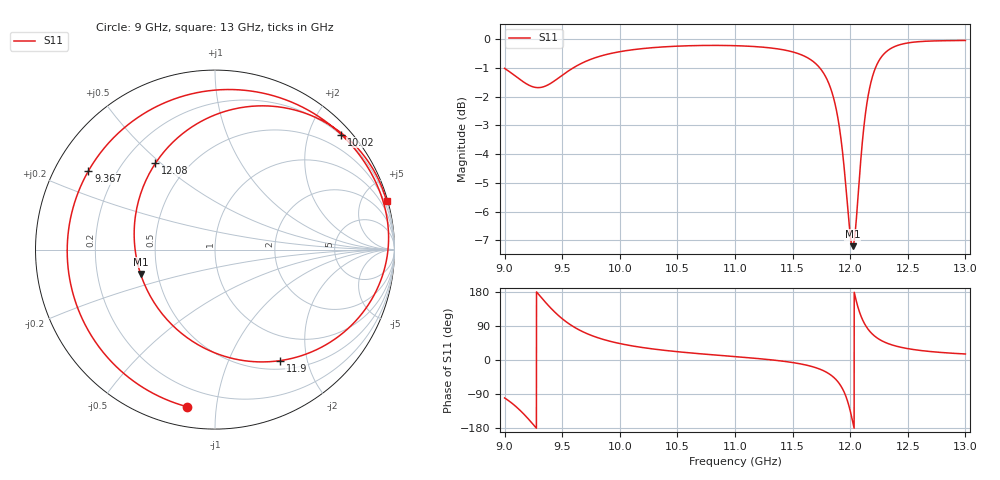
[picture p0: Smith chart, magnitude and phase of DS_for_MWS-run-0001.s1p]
! TOUCHSTONE file generated by CST DESIGN STUDIO
! Date and time: Wed Feb  5 13:44:11 2025
! Project name: C:\Work\MatlabApps\UnitCellOptimizationMatlab\CST\unitcell.cst
! Tree item: Tasks\Sweep1\SPara1\S-Parameters
! Header version: 2024
! Port assignment regex: !\s*Touchstone port\s*([0-9]+)\s*=\s*(CST MWS port|CST DES external port|CST DES block port)\s*(.+)\s* \(\"(.*)\"\)(\s*mode\s*([0-9]+))?.*
! Touchstone port assignment:
! Touchstone port 1 = CST DES external port 1 ("")
# GHz S MA R 50
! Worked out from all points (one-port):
!   4001 points, 9 GHz to 13 GHz, reference 50 ohm
!   lowest |S11| = -7.2 dB at 12.02 GHz (marker M1), VSWR 2.55, Z = 20 - j6.7 ohm
!   |S11| at or under -10 dB: nowhere
!   S11 on the Smith chart (normalised r, x): 9 GHz: 0.10, -0.83; 9.367 GHz: 0.10, +0.28; 10.02 GHz: 0.19, +2.57; 11.9 GHz: 0.62, -1.57; 12.08 GHz: 0.33, +0.48; 13 GHz: 0.15, +7.16
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9  0.8891 -100.1
9.113  0.8565 -126.8
9.222  0.8292 -160.9
9.293  0.8231 174.0
9.367  0.8304 148.1
9.433  0.8458 127.2
9.5  0.8648 108.9
9.597  0.8912 88.0
9.727  0.9185 68.0
10  0.9506 43.4
10.017  0.9519 42.3
10.5  0.9718 21.9
11  0.9737 9.0
11.5  0.9498 -6.7
11.757  0.8796 -26.7
11.836  0.8145 -40.6
11.899  0.7171 -59.6
11.954  0.5787 -89.3
12  0.4563 -134.0
12.021  0.4363 -161.9
12.051  0.4796 157.9
12.083  0.5845 124.6
12.115  0.6923 101.3
12.15  0.7845 83.5
12.253  0.9194 54.4
12.355  0.9634 40.5
12.5  0.9844 30.0
13  0.9943 15.9
